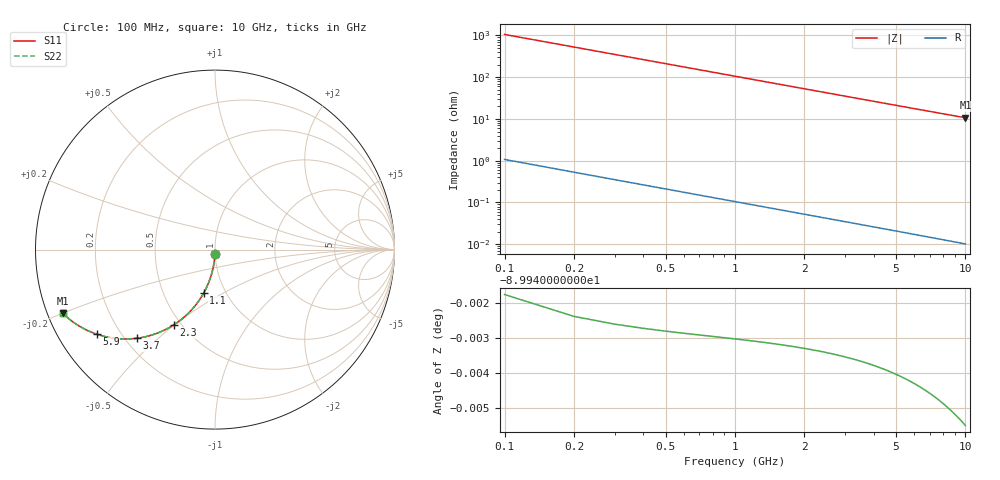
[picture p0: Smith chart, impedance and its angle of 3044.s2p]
# Hz S RI R 50.00
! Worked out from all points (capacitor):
!   100 points, 100 MHz to 10 GHz, reference 50 ohm
!   read as one part in shunt: C = 1.51 pF near 100 MHz
!   lowest |Z| = 10.7 ohm at 10 GHz (marker M1)
!   S11 on the Smith chart (normalised r, x): 100 MHz: 1.00, -0.05; 1.1 GHz: 0.79, -0.41; 2.3 GHz: 0.46, -0.50; 3.7 GHz: 0.25, -0.43; 5.9 GHz: 0.12, -0.32; 10 GHz: 0.04, -0.20
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1e8  -0.000563 -0.0236  0.9994 -0.0237  0.9994 -0.0237  -0.000563 -0.0236
2e8  -0.00226 -0.0472  0.9977 -0.0473  0.9977 -0.0473  -0.00226 -0.0472
3e8  -0.00507 -0.0705  0.9949 -0.0708  0.9949 -0.0708  -0.00507 -0.0705
4e8  -0.00896 -0.0937  0.991 -0.094  0.991 -0.094  -0.00896 -0.0937
5e8  -0.0139 -0.1165  0.9861 -0.1169  0.9861 -0.1169  -0.0139 -0.1165
6e8  -0.0199 -0.1389  0.9801 -0.1394  0.9801 -0.1394  -0.0199 -0.1389
7e8  -0.0268 -0.1609  0.9731 -0.1614  0.9731 -0.1614  -0.0268 -0.1609
9e8  -0.0436 -0.2033  0.9564 -0.204  0.9564 -0.204  -0.0436 -0.2033
1.1e9  -0.0637 -0.2433  0.9363 -0.2441  0.9363 -0.2441  -0.0637 -0.2433
1.4e9  -0.0991 -0.2978  0.9009 -0.2988  0.9009 -0.2988  -0.0991 -0.2978
1.8e9  -0.1537 -0.3596  0.8462 -0.3609  0.8462 -0.3609  -0.1537 -0.3596
2.3e9  -0.2286 -0.4186  0.7714 -0.4202  0.7714 -0.4202  -0.2286 -0.4186
2.8e9  -0.3049 -0.4589  0.695 -0.4609  0.695 -0.4609  -0.3049 -0.4589
3.4e9  -0.3925 -0.4866  0.6074 -0.489  0.6074 -0.489  -0.3925 -0.4866
3.7e9  -0.4334 -0.4937  0.5666 -0.4964  0.5666 -0.4964  -0.4334 -0.4937
4.4e9  -0.5193 -0.4975  0.4806 -0.5007  0.4806 -0.5007  -0.5193 -0.4975
5.1e9  -0.5918 -0.4891  0.4081 -0.4928  0.4081 -0.4928  -0.5918 -0.4891
5.9e9  -0.6597 -0.4712  0.3403 -0.4754  0.3403 -0.4754  -0.6597 -0.4712
6.7e9  -0.7141 -0.4489  0.2859 -0.4538  0.2859 -0.4538  -0.7141 -0.4489
7.5e9  -0.7576 -0.4252  0.2423 -0.4307  0.2423 -0.4307  -0.7576 -0.4252
8.4e9  -0.7966 -0.3989  0.2033 -0.405  0.2033 -0.405  -0.7966 -0.3989
1e10  -0.8472 -0.3556  0.1527 -0.3629  0.1527 -0.3629  -0.8472 -0.3556
